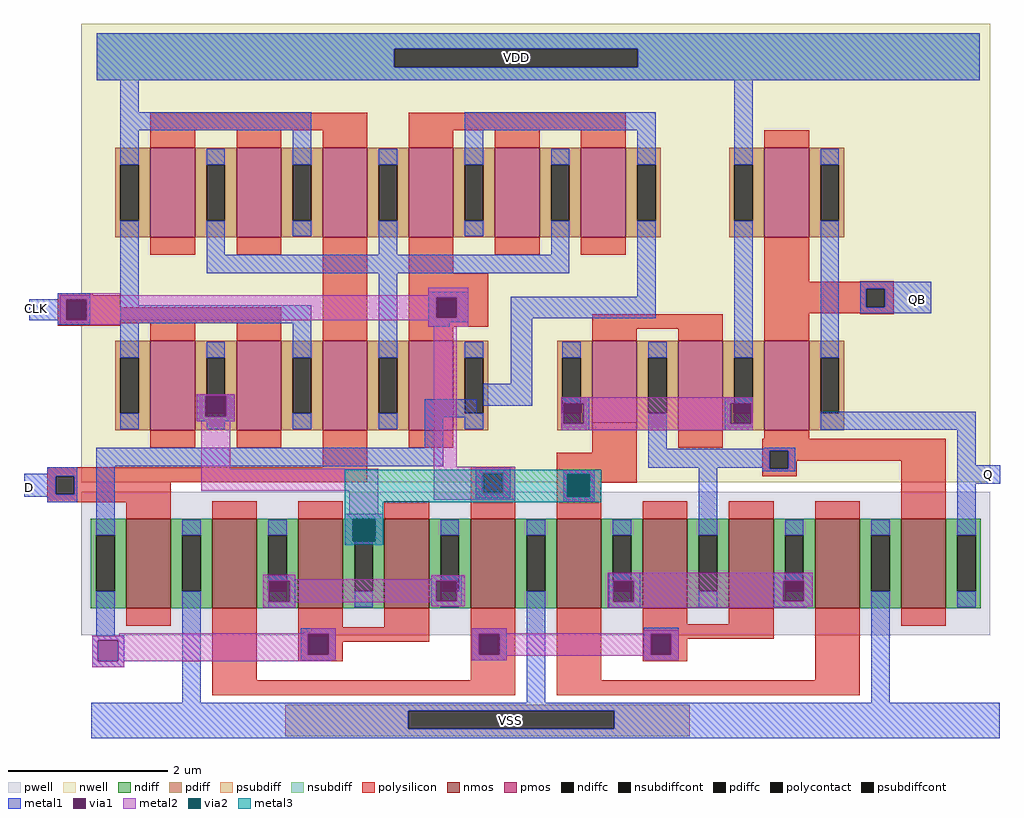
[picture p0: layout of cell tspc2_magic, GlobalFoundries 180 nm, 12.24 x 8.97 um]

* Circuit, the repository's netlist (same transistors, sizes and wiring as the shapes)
* NGSPICE file created from tspc2_magic.ext - technology: gf180mcuD

.subckt pmos_3p3_V9Y6F7 w_n230_n242# a_56_n112# a_n56_n156# a_n144_n112#
X0 a_56_n112# a_n56_n156# a_n144_n112# w_n230_n242# pfet_03v3 ad=0.4928p pd=3.12u as=0.4928p ps=3.12u w=1.12u l=0.56u
.ends

.subckt nmos_3p3_F2UGVV a_164_n112# a_n164_n156# a_n252_n112# a_52_n156# a_n52_n112#
+ VSUBS
X0 a_164_n112# a_52_n156# a_n52_n112# VSUBS nfet_03v3 ad=0.4928p pd=3.12u as=0.2912p ps=1.64u w=1.12u l=0.56u
X1 a_n52_n112# a_n164_n156# a_n252_n112# VSUBS nfet_03v3 ad=0.2912p pd=1.64u as=0.4928p ps=3.12u w=1.12u l=0.56u
.ends

.subckt nmos_3p3_A2UGVV a_56_n112# a_n56_n156# a_n144_n112# VSUBS
X0 a_56_n112# a_n56_n156# a_n144_n112# VSUBS nfet_03v3 ad=0.4928p pd=3.12u as=0.4928p ps=3.12u w=1.12u l=0.56u
.ends

.subckt tspc2_magic CLK D Q QB
Xpmos_3p3_V9Y6F7_0 VDD m1_467_40# D VDD pmos_3p3_V9Y6F7
Xpmos_3p3_V9Y6F7_1 VDD m1_467_40# D VDD pmos_3p3_V9Y6F7
Xpmos_3p3_V9Y6F7_2 VDD a_1434_n99# CLK VDD pmos_3p3_V9Y6F7
Xpmos_3p3_V9Y6F7_3 VDD a_697_n933# CLK m1_467_40# pmos_3p3_V9Y6F7
Xpmos_3p3_V9Y6F7_4 VDD m1_467_40# D VDD pmos_3p3_V9Y6F7
Xpmos_3p3_V9Y6F7_5 VDD VDD D m1_467_40# pmos_3p3_V9Y6F7
Xpmos_3p3_V9Y6F7_6 VDD Q QB VDD pmos_3p3_V9Y6F7
Xpmos_3p3_V9Y6F7_7 VDD VDD a_1434_n99# QB pmos_3p3_V9Y6F7
Xpmos_3p3_V9Y6F7_8 VDD VDD CLK a_1434_n99# pmos_3p3_V9Y6F7
Xpmos_3p3_V9Y6F7_9 VDD QB a_1434_n99# VDD pmos_3p3_V9Y6F7
Xnmos_3p3_F2UGVV_0 m1_622_n799# a_697_n933# m1_622_n799# a_697_n933# a_1434_n99# VSS
+ nmos_3p3_F2UGVV
Xnmos_3p3_F2UGVV_1 m1_1476_n799# CLK m1_1476_n799# CLK QB VSS nmos_3p3_F2UGVV
Xnmos_3p3_A2UGVV_0 VSS D a_697_n933# VSS nmos_3p3_A2UGVV
Xnmos_3p3_A2UGVV_1 m1_622_n799# CLK VSS VSS nmos_3p3_A2UGVV
Xnmos_3p3_A2UGVV_2 VSS CLK m1_622_n799# VSS nmos_3p3_A2UGVV
Xnmos_3p3_A2UGVV_3 m1_1476_n799# a_1434_n99# VSS VSS nmos_3p3_A2UGVV
Xnmos_3p3_A2UGVV_4 VSS a_1434_n99# m1_1476_n799# VSS nmos_3p3_A2UGVV
Xpmos_3p3_V9Y6F7_10 VDD a_697_n933# CLK m1_467_40# pmos_3p3_V9Y6F7
Xnmos_3p3_A2UGVV_5 Q QB VSS VSS nmos_3p3_A2UGVV
Xpmos_3p3_V9Y6F7_12 VDD a_697_n933# CLK m1_467_40# pmos_3p3_V9Y6F7
Xpmos_3p3_V9Y6F7_11 VDD m1_467_40# CLK a_697_n933# pmos_3p3_V9Y6F7
Xpmos_3p3_V9Y6F7_13 VDD Q QB VDD pmos_3p3_V9Y6F7
.ends

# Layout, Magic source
magic
tech gf180mcuD
magscale 1 10
<< nwell >>
rect 152 484 2433 666
rect 2152 -484 2433 484
<< psubdiff >>
rect 664 -1057 1679 -1042
rect 664 -1103 973 -1057
rect 1489 -1103 1679 -1057
rect 664 -1121 1679 -1103
<< nsubdiff >>
rect 192 603 2406 642
rect 192 557 938 603
rect 1548 557 2406 603
rect 192 524 2406 557
<< psubdiffcont >>
rect 973 -1103 1489 -1057
<< nsubdiffcont >>
rect 938 557 1548 603
<< polysilicon >>
rect 326 398 870 442
rect 974 398 1518 442
rect 94 -15 181 -10
rect 94 -29 251 -15
rect 94 -75 118 -29
rect 164 -46 251 -29
rect 164 -75 654 -46
rect 94 -86 654 -75
rect 758 -86 870 86
rect 974 40 1086 86
rect 974 -25 1174 40
rect 974 -71 1047 -25
rect 1093 -71 1174 -25
rect 1866 18 1978 86
rect 2106 18 2190 20
rect 1866 1 2190 18
rect 1866 -45 2122 1
rect 2168 -45 2190 1
rect 1866 -61 2190 -45
rect 974 -86 1174 -71
rect 94 -92 251 -86
rect 1086 -94 1174 -86
rect 1434 -99 1762 -63
rect 1866 -86 1978 -61
rect 2106 -63 2190 -61
rect 758 -447 870 -398
rect 1434 -410 1546 -334
rect 67 -469 870 -447
rect 67 -515 89 -469
rect 135 -484 870 -469
rect 1129 -463 1241 -446
rect 135 -515 377 -484
rect 67 -532 377 -515
rect 1129 -509 1162 -463
rect 1208 -509 1241 -463
rect 1129 -532 1241 -509
rect 1345 -470 1546 -410
rect 1861 -405 2321 -375
rect 1861 -451 1880 -405
rect 1926 -431 2321 -405
rect 1926 -451 1947 -431
rect 1861 -469 1947 -451
rect 1345 -516 1377 -470
rect 1423 -486 1546 -470
rect 1423 -516 1457 -486
rect 1345 -532 1457 -516
rect 2209 -532 2321 -431
rect 67 -535 265 -532
rect 481 -981 593 -841
rect 697 -848 809 -800
rect 913 -848 1025 -800
rect 697 -870 1025 -848
rect 697 -916 725 -870
rect 771 -885 1025 -870
rect 1129 -868 1241 -841
rect 771 -916 809 -885
rect 697 -933 809 -916
rect 1129 -914 1153 -868
rect 1199 -914 1241 -868
rect 1129 -981 1241 -914
rect 481 -1019 1241 -981
rect 1345 -981 1457 -841
rect 1561 -868 1889 -841
rect 1561 -914 1584 -868
rect 1630 -877 1889 -868
rect 1630 -914 1673 -877
rect 1561 -933 1673 -914
rect 1993 -981 2105 -841
rect 1345 -1019 2105 -981
<< polycontact >>
rect 118 -75 164 -29
rect 1047 -71 1093 -25
rect 2122 -45 2168 1
rect 89 -515 135 -469
rect 1162 -509 1208 -463
rect 1880 -451 1926 -405
rect 1377 -516 1423 -470
rect 725 -916 771 -870
rect 1153 -914 1199 -868
rect 1584 -914 1630 -868
<< metal1 >>
rect 192 603 2406 642
rect 192 557 938 603
rect 1548 557 2406 603
rect 192 524 2406 557
rect 251 444 297 524
rect 251 398 729 444
rect 251 341 297 398
rect 683 341 729 398
rect 1115 398 1593 444
rect 1115 341 1161 398
rect 1547 341 1593 398
rect 1791 341 1837 524
rect 94 -25 175 -10
rect 22 -26 175 -25
rect 22 -78 115 -26
rect 167 -78 175 -26
rect 94 -90 175 -78
rect 251 -40 297 143
rect 467 86 513 143
rect 899 86 945 143
rect 1331 86 1377 143
rect 467 40 1377 86
rect 251 -86 729 -40
rect 251 -143 297 -86
rect 683 -143 729 -86
rect 899 -143 945 40
rect 1023 -20 1123 -7
rect 1547 -19 1593 143
rect 1023 -72 1043 -20
rect 1095 -72 1123 -20
rect 1023 -83 1123 -72
rect 1230 -73 1593 -19
rect 1023 -94 1077 -83
rect 1230 -238 1284 -73
rect 1791 -143 1837 143
rect 2007 -143 2053 143
rect 2106 1 2285 18
rect 2106 -45 2122 1
rect 2168 -45 2285 1
rect 2106 -61 2285 -45
rect 442 -268 538 -264
rect 442 -320 464 -268
rect 516 -320 538 -268
rect 442 -332 538 -320
rect 1014 -322 1144 -276
rect 1161 -292 1284 -238
rect 1356 -286 1427 -271
rect 1014 -398 1060 -322
rect 1356 -338 1361 -286
rect 1413 -338 1427 -286
rect 1356 -354 1427 -338
rect 1767 -286 1837 -271
rect 1767 -338 1781 -286
rect 1833 -338 1837 -286
rect 190 -444 1060 -398
rect 1575 -401 1621 -341
rect 1767 -354 1837 -338
rect 2007 -353 2396 -307
rect 1866 -401 1943 -398
rect 1575 -405 1943 -401
rect 67 -463 142 -447
rect 9 -469 142 -463
rect 9 -515 89 -469
rect 135 -515 142 -469
rect 9 -521 142 -515
rect 67 -535 142 -521
rect 190 -586 236 -444
rect 1142 -460 1229 -447
rect 1575 -448 1880 -405
rect 1142 -512 1159 -460
rect 1211 -512 1229 -460
rect 1142 -525 1229 -512
rect 1361 -467 1440 -453
rect 1361 -519 1374 -467
rect 1426 -519 1440 -467
rect 1361 -533 1440 -519
rect 813 -576 910 -563
rect 813 -628 835 -576
rect 887 -628 910 -576
rect 1702 -586 1748 -448
rect 1861 -451 1880 -448
rect 1926 -451 1943 -405
rect 1861 -457 1943 -451
rect 2350 -442 2396 -353
rect 2350 -488 2457 -442
rect 2350 -586 2396 -488
rect 813 -641 910 -628
rect 622 -732 689 -716
rect 622 -784 623 -732
rect 675 -784 689 -732
rect 190 -869 236 -787
rect 180 -881 260 -869
rect 180 -933 194 -881
rect 246 -933 260 -881
rect 180 -948 260 -933
rect 406 -1037 452 -784
rect 622 -799 689 -784
rect 1031 -731 1107 -718
rect 1031 -783 1043 -731
rect 1095 -783 1107 -731
rect 1031 -796 1107 -783
rect 1476 -732 1555 -711
rect 1476 -784 1487 -732
rect 1539 -784 1555 -732
rect 703 -865 791 -851
rect 703 -917 721 -865
rect 773 -917 791 -865
rect 703 -932 791 -917
rect 1132 -865 1220 -851
rect 1132 -917 1150 -865
rect 1202 -917 1220 -865
rect 1132 -931 1220 -917
rect 1270 -1037 1316 -784
rect 1476 -799 1555 -784
rect 1889 -731 1987 -711
rect 1889 -783 1913 -731
rect 1965 -783 1987 -731
rect 1889 -797 1987 -783
rect 1563 -865 1651 -850
rect 1563 -917 1581 -865
rect 1633 -917 1651 -865
rect 1563 -930 1651 -917
rect 2134 -1037 2180 -784
rect 178 -1057 2456 -1037
rect 178 -1103 973 -1057
rect 1489 -1103 2456 -1057
rect 178 -1127 2456 -1103
<< via1 >>
rect 115 -29 167 -26
rect 115 -75 118 -29
rect 118 -75 164 -29
rect 164 -75 167 -29
rect 115 -78 167 -75
rect 1043 -25 1095 -20
rect 1043 -71 1047 -25
rect 1047 -71 1093 -25
rect 1093 -71 1095 -25
rect 1043 -72 1095 -71
rect 464 -320 516 -268
rect 1361 -338 1413 -286
rect 1781 -338 1833 -286
rect 1159 -463 1211 -460
rect 1159 -509 1162 -463
rect 1162 -509 1208 -463
rect 1208 -509 1211 -463
rect 1159 -512 1211 -509
rect 1374 -470 1426 -467
rect 1374 -516 1377 -470
rect 1377 -516 1423 -470
rect 1423 -516 1426 -470
rect 1374 -519 1426 -516
rect 835 -628 887 -576
rect 623 -784 675 -732
rect 194 -933 246 -881
rect 1043 -783 1095 -731
rect 1487 -784 1539 -732
rect 721 -870 773 -865
rect 721 -916 725 -870
rect 725 -916 771 -870
rect 771 -916 773 -870
rect 721 -917 773 -916
rect 1150 -868 1202 -865
rect 1150 -914 1153 -868
rect 1153 -914 1199 -868
rect 1199 -914 1202 -868
rect 1150 -917 1202 -914
rect 1913 -783 1965 -731
rect 1581 -868 1633 -865
rect 1581 -914 1584 -868
rect 1584 -914 1630 -868
rect 1630 -914 1633 -868
rect 1581 -917 1633 -914
<< metal2 >>
rect 175 -15 251 -10
rect 1023 -15 1123 3
rect 100 -20 1123 -15
rect 100 -26 1043 -20
rect 100 -78 115 -26
rect 167 -72 1043 -26
rect 1095 -72 1123 -20
rect 167 -78 1123 -72
rect 100 -86 251 -78
rect 175 -90 251 -86
rect 1023 -94 1123 -78
rect 442 -268 538 -264
rect 442 -320 464 -268
rect 516 -320 538 -268
rect 442 -332 538 -320
rect 454 -450 526 -332
rect 1037 -446 1095 -94
rect 1356 -286 1837 -271
rect 1356 -338 1361 -286
rect 1413 -338 1781 -286
rect 1833 -338 1837 -286
rect 1356 -354 1837 -338
rect 454 -506 898 -450
rect 825 -563 898 -506
rect 1037 -460 1241 -446
rect 1037 -512 1159 -460
rect 1211 -512 1241 -460
rect 1037 -528 1241 -512
rect 1361 -465 1440 -453
rect 1361 -521 1372 -465
rect 1428 -521 1440 -465
rect 1361 -533 1440 -521
rect 813 -576 910 -563
rect 813 -632 834 -576
rect 890 -632 910 -576
rect 813 -641 910 -632
rect 609 -728 689 -716
rect 1031 -728 1115 -718
rect 609 -731 1115 -728
rect 609 -732 1043 -731
rect 609 -784 623 -732
rect 675 -783 1043 -732
rect 1095 -783 1115 -731
rect 675 -784 1115 -783
rect 609 -786 1115 -784
rect 609 -799 689 -786
rect 1031 -796 1115 -786
rect 1473 -731 1987 -711
rect 1473 -732 1913 -731
rect 1473 -784 1487 -732
rect 1539 -783 1913 -732
rect 1965 -783 1987 -731
rect 1539 -784 1987 -783
rect 1473 -797 1987 -784
rect 1473 -799 1972 -797
rect 730 -859 791 -851
rect 712 -863 791 -859
rect 248 -865 791 -863
rect 248 -869 721 -865
rect 180 -881 721 -869
rect 180 -933 194 -881
rect 246 -917 721 -881
rect 773 -917 791 -865
rect 246 -932 791 -917
rect 1132 -863 1220 -851
rect 1563 -863 1651 -856
rect 1132 -865 1651 -863
rect 1132 -917 1150 -865
rect 1202 -917 1581 -865
rect 1633 -917 1651 -865
rect 1132 -919 1651 -917
rect 1132 -931 1220 -919
rect 1563 -930 1651 -919
rect 246 -933 779 -932
rect 180 -948 260 -933
<< via2 >>
rect 1372 -467 1428 -465
rect 1372 -519 1374 -467
rect 1374 -519 1426 -467
rect 1426 -519 1428 -467
rect 1372 -521 1428 -519
rect 834 -628 835 -576
rect 835 -628 887 -576
rect 887 -628 890 -576
rect 834 -632 890 -628
<< metal3 >>
rect 813 -465 1457 -453
rect 813 -521 1372 -465
rect 1428 -521 1457 -465
rect 813 -535 1457 -521
rect 813 -576 910 -535
rect 813 -632 834 -576
rect 890 -632 910 -576
rect 813 -641 910 -632
use nmos_3p3_A2UGVV  nmos_3p3_A2UGVV_0
transform 1 0 321 0 1 -688
box -168 -180 168 180
use nmos_3p3_A2UGVV  nmos_3p3_A2UGVV_1
transform 1 0 537 0 1 -688
box -168 -180 168 180
use nmos_3p3_A2UGVV  nmos_3p3_A2UGVV_2
transform 1 0 1185 0 1 -688
box -168 -180 168 180
use nmos_3p3_A2UGVV  nmos_3p3_A2UGVV_3
transform 1 0 1401 0 1 -688
box -168 -180 168 180
use nmos_3p3_A2UGVV  nmos_3p3_A2UGVV_4
transform 1 0 2049 0 1 -688
box -168 -180 168 180
use nmos_3p3_A2UGVV  nmos_3p3_A2UGVV_5
transform 1 0 2265 0 1 -688
box -168 -180 168 180
use nmos_3p3_F2UGVV  nmos_3p3_F2UGVV_0
transform 1 0 861 0 1 -688
box -276 -180 276 180
use nmos_3p3_F2UGVV  nmos_3p3_F2UGVV_1
transform 1 0 1725 0 1 -688
box -276 -180 276 180
use pmos_3p3_V9Y6F7  pmos_3p3_V9Y6F7_0
transform 1 0 814 0 1 242
box -230 -242 230 242
use pmos_3p3_V9Y6F7  pmos_3p3_V9Y6F7_1
transform 1 0 382 0 1 242
box -230 -242 230 242
use pmos_3p3_V9Y6F7  pmos_3p3_V9Y6F7_2
transform 1 0 382 0 1 -242
box -230 -242 230 242
use pmos_3p3_V9Y6F7  pmos_3p3_V9Y6F7_3
transform 1 0 1030 0 1 -242
box -230 -242 230 242
use pmos_3p3_V9Y6F7  pmos_3p3_V9Y6F7_4
transform 1 0 814 0 1 -242
box -230 -242 230 242
use pmos_3p3_V9Y6F7  pmos_3p3_V9Y6F7_5
transform 1 0 598 0 1 242
box -230 -242 230 242
use pmos_3p3_V9Y6F7  pmos_3p3_V9Y6F7_6
transform 1 0 1922 0 1 -242
box -230 -242 230 242
use pmos_3p3_V9Y6F7  pmos_3p3_V9Y6F7_7
transform 1 0 1706 0 1 -242
box -230 -242 230 242
use pmos_3p3_V9Y6F7  pmos_3p3_V9Y6F7_8
transform 1 0 598 0 1 -242
box -230 -242 230 242
use pmos_3p3_V9Y6F7  pmos_3p3_V9Y6F7_9
transform 1 0 1490 0 1 -242
box -230 -242 230 242
use pmos_3p3_V9Y6F7  pmos_3p3_V9Y6F7_10
transform 1 0 1030 0 1 242
box -230 -242 230 242
use pmos_3p3_V9Y6F7  pmos_3p3_V9Y6F7_11
transform 1 0 1246 0 1 242
box -230 -242 230 242
use pmos_3p3_V9Y6F7  pmos_3p3_V9Y6F7_12
transform 1 0 1462 0 1 242
box -230 -242 230 242
use pmos_3p3_V9Y6F7  pmos_3p3_V9Y6F7_13
transform 1 0 1922 0 1 242
box -230 -242 230 242
<< labels >>
flabel nsubdiffcont 1245 581 1245 581 0 FreeSans 750 0 0 0 VDD
flabel psubdiffcont 1229 -1083 1229 -1083 0 FreeSans 750 0 0 0 VSS
flabel metal1 s 40 -49 40 -49 0 FreeSans 250 0 0 0 CLK
port 1 nsew
flabel metal1 s 22 -498 22 -498 0 FreeSans 250 0 0 0 D
port 2 nsew
flabel metal1 s 2428 -466 2428 -466 0 FreeSans 750 0 0 0 Q
port 3 nsew
flabel metal1 s 2250 -25 2250 -25 0 FreeSans 750 0 0 0 QB
port 4 nsew
<< end >>

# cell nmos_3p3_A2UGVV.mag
magic
tech gf180mcuD
magscale 1 10
<< pwell >>
rect -168 -180 168 180
<< nmos >>
rect -56 -112 56 112
<< ndiff >>
rect -144 70 -56 112
rect -144 -70 -131 70
rect -85 -70 -56 70
rect -144 -112 -56 -70
rect 56 70 144 112
rect 56 -70 85 70
rect 131 -70 144 70
rect 56 -112 144 -70
<< ndiffc >>
rect -131 -70 -85 70
rect 85 -70 131 70
<< polysilicon >>
rect -56 112 56 156
rect -56 -156 56 -112
<< metal1 >>
rect -131 70 -85 110
rect -131 -110 -85 -70
rect 85 70 131 110
rect 85 -110 131 -70
<< end >>

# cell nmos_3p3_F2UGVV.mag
magic
tech gf180mcuD
magscale 1 10
<< pwell >>
rect -276 -180 276 180
<< nmos >>
rect -164 -112 -52 112
rect 52 -112 164 112
<< ndiff >>
rect -252 70 -164 112
rect -252 -70 -239 70
rect -193 -70 -164 70
rect -252 -112 -164 -70
rect -52 70 52 112
rect -52 -70 -23 70
rect 23 -70 52 70
rect -52 -112 52 -70
rect 164 70 252 112
rect 164 -70 193 70
rect 239 -70 252 70
rect 164 -112 252 -70
<< ndiffc >>
rect -239 -70 -193 70
rect -23 -70 23 70
rect 193 -70 239 70
<< polysilicon >>
rect -164 112 -52 156
rect 52 112 164 156
rect -164 -156 -52 -112
rect 52 -156 164 -112
<< metal1 >>
rect -239 70 -193 110
rect -239 -110 -193 -70
rect -23 70 23 110
rect -23 -110 23 -70
rect 193 70 239 110
rect 193 -110 239 -70
<< end >>

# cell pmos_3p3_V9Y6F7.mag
magic
tech gf180mcuD
magscale 1 10
<< nwell >>
rect -230 -242 230 242
<< pmos >>
rect -56 -112 56 112
<< pdiff >>
rect -144 70 -56 112
rect -144 -70 -131 70
rect -85 -70 -56 70
rect -144 -112 -56 -70
rect 56 70 144 112
rect 56 -70 85 70
rect 131 -70 144 70
rect 56 -112 144 -70
<< pdiffc >>
rect -131 -70 -85 70
rect 85 -70 131 70
<< polysilicon >>
rect -56 112 56 156
rect -56 -156 56 -112
<< metal1 >>
rect -131 70 -85 110
rect -131 -110 -85 -70
rect 85 70 131 110
rect 85 -110 131 -70
<< end >>
